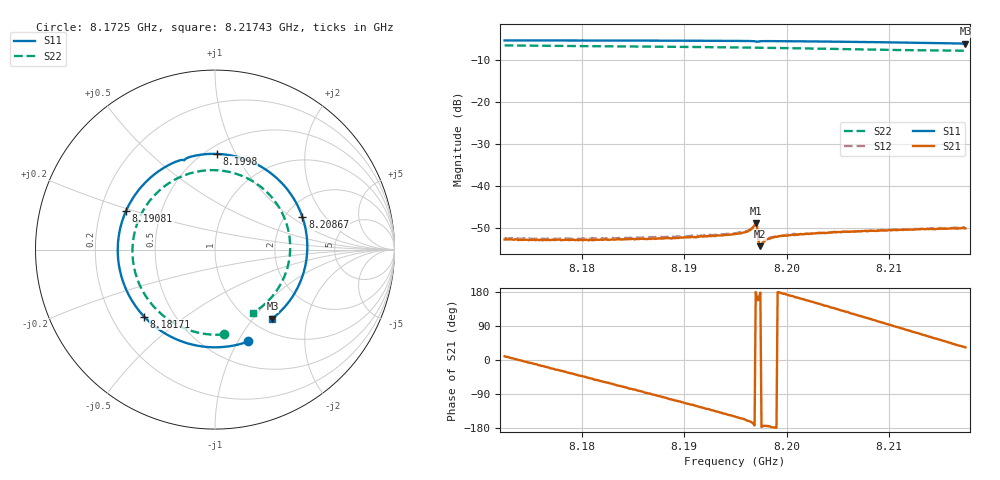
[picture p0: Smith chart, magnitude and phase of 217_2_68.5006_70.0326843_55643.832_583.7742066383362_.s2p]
#  HZ  S  RI  R  50.00
! Rohde & Schwarz Vector Network Analyzer
! Rohde-Schwarz,ZNB20-2Port,1311601062101988,3.16
! Created: UTC 3/20/2024, 4:58:16 PM
! freq[Hz]  re:S11  im:S11  re:S21  im:S21  re:S12  im:S12  re:S22  im:S22
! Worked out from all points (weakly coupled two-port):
!   401 points, 8.1725 GHz to 8.21743 GHz, reference 50 ohm
!   highest |S21| = -49.02 dB at 8.19699 GHz (marker M1); lowest = -54.5 dB at 8.19744 GHz (marker M2)
!   lowest |S11| = -6.0 dB at 8.21743 GHz (marker M3), VSWR 3.00, Z = 61.5 - j62.9 ohm
!   |S11| at or under -10 dB: nowhere
!   |S22| runs from -7.7 to -6.5 dB; largest |S21 - S12| = 0.00017
!   S11 on the Smith chart (normalised r, x): 8.1725 GHz: 0.76, -1.11; 8.18171 GHz: 0.34, -0.36; 8.19081 GHz: 0.31, +0.19; 8.1998 GHz: 0.57, +0.84; 8.20867 GHz: 2.46, +1.23; 8.21743 GHz: 1.23, -1.26
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8.172497e9  0.1862 -0.5116  0.00224 0.000386  0.00228 0.000395  0.0501 -0.4728
8.176317e9  -0.0711 -0.5397  0.00215 -0.000645  0.00223 -0.000672  -0.1634 -0.4413
8.180024e9  -0.3072 -0.4488  0.00166 -0.00152  0.00171 -0.00159  -0.335 -0.3245
8.181709e9  -0.3954 -0.373  0.00131 -0.00183  0.00135 -0.00193  -0.3919 -0.2496
8.184742e9  -0.5064 -0.1952  0.000556 -0.00224  0.000603 -0.00233  -0.4524 -0.0927
8.187551e9  -0.542 -0.00356  -0.000216 -0.00232  -0.000265 -0.00241  -0.4544 0.0627
8.190808e9  -0.4946 0.2178  -0.00115 -0.00216  -0.00129 -0.00219  -0.3918 0.2313
8.194965e9  -0.3098 0.4396  -0.00227 -0.00135  -0.00235 -0.00128  -0.2254 0.389
8.196201e9  -0.2334 0.4831  -0.00267 -0.000968  -0.00275 -0.000893  -0.1621 0.4173
8.196875e9  -0.186 0.4995  -0.00334 -0.000424  -0.00345 -0.000289  -0.1258 0.4283
8.196987e9  -0.1775 0.4995  -0.00354 5.01e-05  -0.00358 0.000204  -0.1197 0.4298
8.197436e9  -0.1578 0.5092  -0.00189 6.8e-05  -0.00189 0.00016  -0.0952 0.4352
8.197549e9  -0.1498 0.5128  -0.00198 -0.000107  -0.002 -3.42e-05  -0.089 0.4362
8.197998e9  -0.1176 0.5219  -0.00225 -0.000254  -0.00228 -0.000148  -0.0639 0.44
8.198672e9  -0.0698 0.53  -0.00243 -9.19e-05  -0.00242 4.56e-06  -0.0257 0.4426
8.199796e9  0.00975 0.5333  -0.00251 0.000225  -0.00254 0.000343  0.0382 0.4396
8.202492e9  0.1949 0.4928  -0.00239 0.00119  -0.00236 0.00129  0.1848 0.3951
8.205749e9  0.3818 0.3602  -0.00171 0.00223  -0.00167 0.00231  0.3294 0.2751
8.20867e9  0.4865 0.1822  -0.000709 0.0028  -0.000625 0.00282  0.4054 0.1207
8.210018e9  0.5091 0.0888  -0.000152 0.00295  -8.83e-05 0.00296  0.4182 0.0405
8.213613e9  0.4812 -0.1649  0.00133 0.00273  0.0014 0.00269  0.3755 -0.1739
8.217433e9  0.3198 -0.384  0.00258 0.0017  0.00273 0.00167  0.2139 -0.3509
